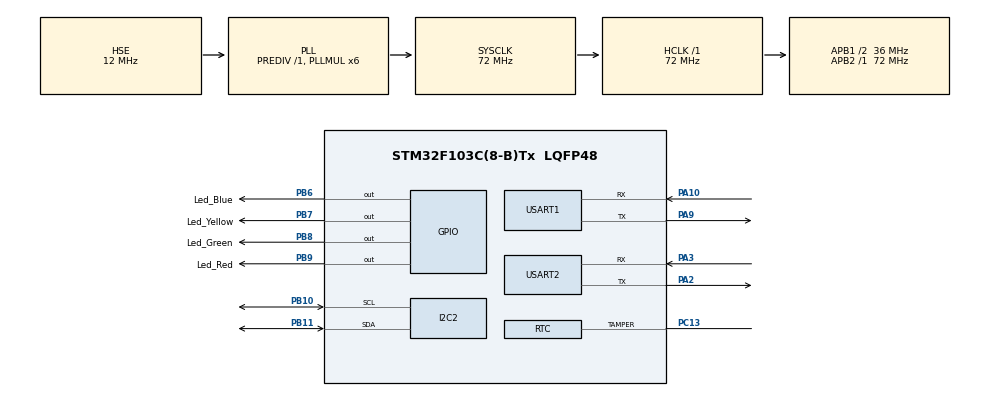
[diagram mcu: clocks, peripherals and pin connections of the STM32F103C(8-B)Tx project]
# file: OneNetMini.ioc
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Dma.Request0=USART1_RX
Dma.USART1_RX.0.Direction=DMA_PERIPH_TO_MEMORY
Dma.USART1_RX.0.Instance=DMA1_Channel5
Dma.USART1_RX.0.MemDataAlignment=DMA_MDATAALIGN_BYTE
Dma.USART1_RX.0.MemInc=DMA_MINC_ENABLE
Dma.USART1_RX.0.Mode=DMA_CIRCULAR
Dma.USART1_RX.0.PeriphDataAlignment=DMA_PDATAALIGN_BYTE
Dma.USART1_RX.0.PeriphInc=DMA_PINC_DISABLE
Dma.USART1_RX.0.Priority=DMA_PRIORITY_LOW
I2C2.I2C_Mode=I2C_Fast
I2C2.OwnAddress=0
Mcu.Family=STM32F1
Mcu.Name=STM32F103C(8-B)Tx
Mcu.Package=LQFP48
NVIC.DMA1_Channel5_IRQn=true\:0\:0\:false\:false\:true\:false\:true
NVIC.PriorityGroup=NVIC_PRIORITYGROUP_2
NVIC.USART1_IRQn=true\:0\:2\:false\:true\:true\:1\:true\:true
NVIC.USART2_IRQn=true\:0\:1\:false\:false\:true\:true\:true
PA10.Mode=Asynchronous
PA10.Signal=USART1_RX
PA13.Mode=Serial_Wire
PA13.Signal=SYS_JTMS-SWDIO
PA14.Mode=Serial_Wire
PA14.Signal=SYS_JTCK-SWCLK
PA2.Mode=Asynchronous
PA2.Signal=USART2_TX
PA3.Mode=Asynchronous
PA3.Signal=USART2_RX
PA9.Mode=Asynchronous
PA9.Signal=USART1_TX
PB10.Mode=I2C
PB10.Signal=I2C2_SCL
PB11.Mode=I2C
PB11.Signal=I2C2_SDA
PB6.GPIO_Label=Led_Blue
PB6.GPIO_ModeDefaultOutputPP=GPIO_MODE_OUTPUT_PP
PB6.GPIO_PuPd=GPIO_NOPULL
PB6.GPIO_Speed=GPIO_SPEED_FREQ_HIGH
PB6.PinState=GPIO_PIN_SET
PB6.Signal=GPIO_Output
PB7.GPIO_Label=Led_Yellow
PB7.GPIO_ModeDefaultOutputPP=GPIO_MODE_OUTPUT_PP
PB7.GPIO_PuPd=GPIO_NOPULL
PB7.GPIO_Speed=GPIO_SPEED_FREQ_HIGH
PB7.PinState=GPIO_PIN_SET
PB7.Signal=GPIO_Output
PB8.GPIO_Label=Led_Green
PB8.GPIO_ModeDefaultOutputPP=GPIO_MODE_OUTPUT_PP
PB8.GPIO_PuPd=GPIO_NOPULL
PB8.GPIO_Speed=GPIO_SPEED_FREQ_HIGH
PB8.PinState=GPIO_PIN_SET
PB8.Signal=GPIO_Output
PB9.GPIO_Label=Led_Red
PB9.GPIO_ModeDefaultOutputPP=GPIO_MODE_OUTPUT_PP
PB9.GPIO_PuPd=GPIO_NOPULL
PB9.GPIO_Speed=GPIO_SPEED_FREQ_HIGH
PB9.PinState=GPIO_PIN_SET
PB9.Signal=GPIO_Output
PC13-TAMPER-RTC.Mode=Tamper
PC13-TAMPER-RTC.Signal=RTC_TAMPER
PC14-OSC32_IN.Mode=LSE-External-Oscillator
PC14-OSC32_IN.Signal=RCC_OSC32_IN
PC15-OSC32_OUT.Mode=LSE-External-Oscillator
PC15-OSC32_OUT.Signal=RCC_OSC32_OUT
PD0-OSC_IN.Mode=HSE-External-Oscillator
PD0-OSC_IN.Signal=RCC_OSC_IN
PD1-OSC_OUT.Mode=HSE-External-Oscillator
PD1-OSC_OUT.Signal=RCC_OSC_OUT
ProjectManager.HeapSize=0x200
ProjectManager.StackSize=0x400
ProjectManager.TargetToolchain=Makefile
RCC.AHBFreq_Value=72000000
RCC.APB1CLKDivider=RCC_HCLK_DIV2
RCC.APB1Freq_Value=36000000
RCC.APB1TimFreq_Value=72000000
RCC.APB2Freq_Value=72000000
RCC.APB2TimFreq_Value=72000000
RCC.HCLKFreq_Value=72000000
RCC.HSE_VALUE=12000000
RCC.PLLMUL=RCC_PLL_MUL6
RCC.PLLSourceVirtual=RCC_PLLSOURCE_HSE
RCC.SYSCLKFreq_VALUE=72000000
RCC.SYSCLKSource=RCC_SYSCLKSOURCE_PLLCLK
RCC.USBFreq_Value=72000000
USART1.VirtualMode=VM_ASYNC
USART2.VirtualMode=VM_ASYNC
VP_RTC_VS_RTC_Activate.Mode=RTC_Enabled
board=custom

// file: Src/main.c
/* USER CODE BEGIN Header */
/**
  ******************************************************************************
  * @file           : main.c
  * @brief          : Main program body
  ******************************************************************************
  * @attention
  *
  * <h2><center>&copy; Copyright (c) 2019 STMicroelectronics.
  * All rights reserved.</center></h2>
  *
  * This software component is licensed by ST under BSD 3-Clause license,
  * the "License"; You may not use this file except in compliance with the
  * License. You may obtain a copy of the License at:
  *                        opensource.org/licenses/BSD-3-Clause
  *
  ******************************************************************************
  */
/* USER CODE END Header */

#include "main.h"
#include "dma.h"
#include "i2c.h"
#include "rtc.h"
#include "usart.h"
#include "gpio.h"

/* USER CODE BEGIN Includes */
#include "led.h"
#include "uuart.h"
#include "SHT20.h"
#include "ESP8266.h"
#include "OneNet.h"
/* USER CODE END Includes */

void SystemClock_Config(void);
static void MX_NVIC_Init(void);

int main(void)
{
  /* USER CODE BEGIN 1 */
    uint16_t whileCount = 0;
  /* USER CODE END 1 */

  /* MCU Configuration--------------------------------------------------------*/

  /* Reset of all peripherals, Initializes the Flash interface and the Systick. */
  HAL_Init();

  /* Configure the system clock */
  SystemClock_Config();

  /* Initialize all configured peripherals */
  MX_GPIO_Init();
  MX_I2C2_Init();
  MX_USART1_UART_Init();
  MX_USART2_UART_Init();
  MX_RTC_Init();
  MX_DMA_Init();

  /* Initialize interrupts */
  MX_NVIC_Init();
  /* USER CODE BEGIN 2 */
    uuart1_RecvInit();
    sleep(1);
    uprint("system init over.\n");
    sleep(1);
    LED_ALL_ON;
    sleep(1.1);
    LED_ALL_OFF;
    sleep(1);
    SHT20_reset();
    uprintln("SHT20 init over.");

    ESP8266_Init();
    uprintln("ESP8266 init over.");
  /* USER CODE END 2 */

  /* Infinite loop */
  /* USER CODE BEGIN WHILE */
#define WHILE_MAX   1200
#define SHT_REPORT_TIMINTERVAL  1200
    uint8_t status = 1;
  while (1)
  {
      if (++whileCount > WHILE_MAX) {
          whileCount = 0;
      }
    /* USER CODE END WHILE */

    /* USER CODE BEGIN 3 */
      ledMainWork();
      msleep(100);

      if (status == 0) {
          if (whileCount % SHT_REPORT_TIMINTERVAL == 0) {
              status = 1;
          }
      }
      else if (status == 1) {
          status = 2;
          whileCount = 0;
          getValue();
          uprintf("temperature is %.2f, humidity is %.2f%%\n", temperatureValue, humidityValue);
      }
      else if (status == 2) {
          status = 3;
          reportSHTDataPoint(temperatureValue, humidityValue);
      }
      else if (status == 3) {
          if ((checkReportDataPointResponse() == 0) || whileCount == 300) {
              status = 0;
              whileCount = 0;
          }
      }
  }
  /* USER CODE END 3 */
}

void SystemClock_Config(void)
{
  RCC_OscInitTypeDef RCC_OscInitStruct = {0};
  RCC_ClkInitTypeDef RCC_ClkInitStruct = {0};
  RCC_PeriphCLKInitTypeDef PeriphClkInit = {0};

  /** Initializes the CPU, AHB and APB busses clocks
  */
  RCC_OscInitStruct.OscillatorType = RCC_OSCILLATORTYPE_LSI|RCC_OSCILLATORTYPE_HSE;
  RCC_OscInitStruct.HSEState = RCC_HSE_ON;
  RCC_OscInitStruct.HSEPredivValue = RCC_HSE_PREDIV_DIV1;
  RCC_OscInitStruct.HSIState = RCC_HSI_ON;
  RCC_OscInitStruct.LSIState = RCC_LSI_ON;
  RCC_OscInitStruct.PLL.PLLState = RCC_PLL_ON;
  RCC_OscInitStruct.PLL.PLLSource = RCC_PLLSOURCE_HSE;
  RCC_OscInitStruct.PLL.PLLMUL = RCC_PLL_MUL6;
  if (HAL_RCC_OscConfig(&RCC_OscInitStruct) != HAL_OK)
  {
    Error_Handler();
  }
  /** Initializes the CPU, AHB and APB busses clocks
  */
  RCC_ClkInitStruct.ClockType = RCC_CLOCKTYPE_HCLK|RCC_CLOCKTYPE_SYSCLK
                              |RCC_CLOCKTYPE_PCLK1|RCC_CLOCKTYPE_PCLK2;
  RCC_ClkInitStruct.SYSCLKSource = RCC_SYSCLKSOURCE_PLLCLK;
  RCC_ClkInitStruct.AHBCLKDivider = RCC_SYSCLK_DIV1;
  RCC_ClkInitStruct.APB1CLKDivider = RCC_HCLK_DIV2;
  RCC_ClkInitStruct.APB2CLKDivider = RCC_HCLK_DIV1;

  if (HAL_RCC_ClockConfig(&RCC_ClkInitStruct, FLASH_LATENCY_2) != HAL_OK)
  {
    Error_Handler();
  }
  PeriphClkInit.PeriphClockSelection = RCC_PERIPHCLK_RTC;
  PeriphClkInit.RTCClockSelection = RCC_RTCCLKSOURCE_LSI;
  if (HAL_RCCEx_PeriphCLKConfig(&PeriphClkInit) != HAL_OK)
  {
    Error_Handler();
  }
}

/**
  * @brief NVIC Configuration.
  * @retval None
  */
static void MX_NVIC_Init(void)
{
  /* USART1_IRQn interrupt configuration */
  HAL_NVIC_SetPriority(USART1_IRQn, 0, 2);
  HAL_NVIC_EnableIRQ(USART1_IRQn);
}

void Error_Handler(void)
{
}

/************************ (C) COPYRIGHT STMicroelectronics *****END OF FILE****/
